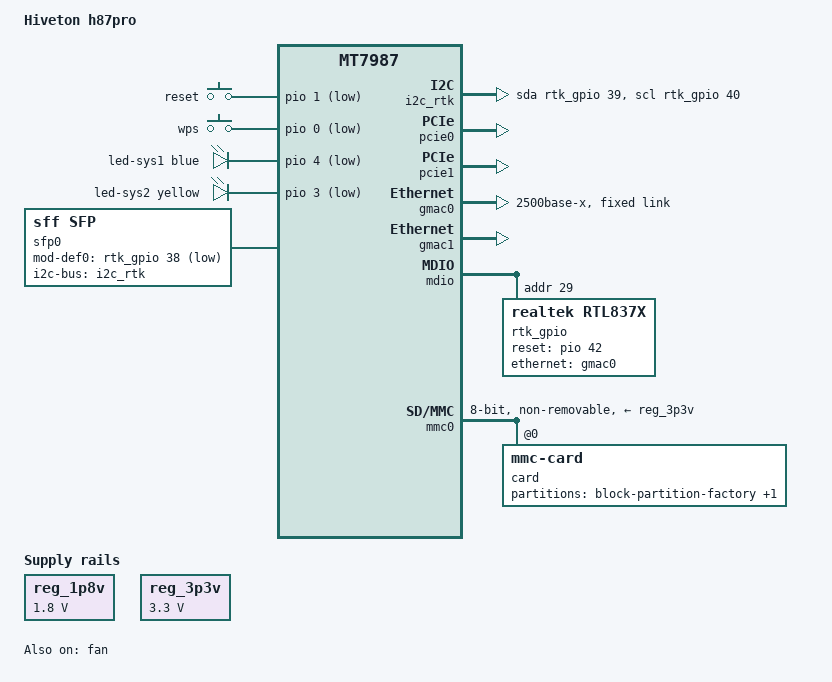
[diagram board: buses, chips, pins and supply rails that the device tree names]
// SPDX-License-Identifier: (GPL-2.0 OR MIT)

/dts-v1/;
#include "mt7987a.dtsi"
#include <dt-bindings/input/input.h>

/ {
	model = "Hiveton h87pro";
	compatible = "hiveton,h87pro", "mediatek,mt7987";

	aliases {
		serial0 = &uart0;
	};

	chosen: chosen {
		stdout-path = "serial0:115200n8";
		rootdisk = <&emmc_rootfs>;
		bootargs-append = " root=PARTLABEL=rootfs rootwait rootfstype=squashfs,f2fs";
	};

	gpio-keys {
		compatible = "gpio-keys";

		reset {
			label = "reset";
			linux,code = <KEY_RESTART>;
			gpios = <&pio 1 GPIO_ACTIVE_LOW>;
			debounce-interval = <10>;
		};

		wps {
			label = "wps";
			linux,code = <KEY_WPS_BUTTON>;
			gpios = <&pio 0 GPIO_ACTIVE_LOW>;
			debounce-interval = <10>;
		};
	};

	leds {
		compatible = "gpio-leds";

		led-sys1 {
			gpios = <&pio 4 GPIO_ACTIVE_LOW>;
			color = <LED_COLOR_ID_BLUE>;
			function = LED_FUNCTION_POWER;
		};

		led-sys2 {
			gpios = <&pio 3 GPIO_ACTIVE_LOW>;
			color = <LED_COLOR_ID_YELLOW>;
			function = LED_FUNCTION_POWER;
		};
	};

	reg_1p8v: regulator-1p8v {
		compatible = "regulator-fixed";
		regulator-name = "fixed-1.8V";
		regulator-min-microvolt = <1800000>;
		regulator-max-microvolt = <1800000>;
		regulator-boot-on;
		regulator-always-on;
	};

	reg_3p3v: regulator-3p3v {
		compatible = "regulator-fixed";
		regulator-name = "fixed-3.3V";
		regulator-min-microvolt = <3300000>;
		regulator-max-microvolt = <3300000>;
		regulator-boot-on;
		regulator-always-on;
	};

	i2c_rtk: i2c {
		compatible = "i2c-gpio";
		sda-gpios = <&rtk_gpio 39 GPIO_ACTIVE_HIGH>;
		scl-gpios = <&rtk_gpio 40 GPIO_ACTIVE_HIGH>;
		i2c-gpio,delay-us = <5>;
		i2c-gpio,timeout-ms = <1>;
	};

	sfp0: sfp {
		compatible = "sff,sfp";

		i2c-bus = <&i2c_rtk>;
		mod-def0-gpios = <&rtk_gpio 38 GPIO_ACTIVE_LOW>;
		maximum-power-milliwatt = <1000>;
	};
};

&pcie0 {
	status = "okay";
};

&pcie1 {
	status = "okay";
};

&fan {
	pinctrl-names = "default";
	pinctrl-0 = <&pwm_fan_pins>;
	compatible = "pwm-fan";
	#cooling-cells = <2>;
	cooling-levels = <0 10 20 30 40 50 60 70 80 90 100 110 120 130 140 150 160 170 180 190 200 210 220 240 255>;
	pwms = <&pwm 1 50000 0>;
	status = "okay";
};

&gmac0 {
	phy-mode = "2500base-x";
	status = "okay";
	fixed-link {
		speed = <2500>;
		full-duplex;
		pause;
		asym-pause;
	};
};

&gmac1 {
	status = "okay";
};

&mdio {
	rtk_gpio: rtl837x-gsw@1 {
		compatible = "realtek,rtl837x";
		#address-cells = <1>;
		#size-cells = <1>;
		reg = <29>;
		reset-gpios = <&pio 42 GPIO_ACTIVE_HIGH>;
		rtl837x,cpu-port = <0>;
		rtl837x,sds0mode = "2500base-x";
		ethernet = <&gmac0>;
		sfp = <&sfp0>;
		sds1-rx-swap;
		phy-mdi-reverse;
		phy-tx-polarity-swap;
		gpio-controller;
		#gpio-cells = <2>;
	};
};

&mmc0 {
	pinctrl-names = "default", "state_uhs";
	pinctrl-0 = <&mmc_pins_default>;
	pinctrl-1 = <&mmc_pins_uhs>;
	bus-width = <8>;
	max-frequency = <48000000>;
	cap-mmc-highspeed;
	vmmc-supply = <&reg_3p3v>;
	non-removable;
	status = "okay";

	card@0 {
		compatible = "mmc-card";
		reg = <0>;

		block {
			compatible = "block-device";

			partitions {
				block-partition-factory {
					partname = "factory";

					nvmem-layout {
						compatible = "fixed-layout";
						#address-cells = <1>;
						#size-cells = <1>;

						eeprom_factory_0: eeprom@0 {
							reg = <0x0 0x1000>;
						};

						macaddr_factory_24: macaddr@24 {
							compatible = "mac-base";
							reg = <0x24 0x6>;
							#nvmem-cell-cells = <1>;
						};

						macaddr_factory_2a: macaddr@2a {
							compatible = "mac-base";
							reg = <0x2a 0x6>;
							#nvmem-cell-cells = <1>;
						};
					};
				};

				emmc_rootfs: block-partition-rootfs {
					partname = "rootfs";
				};
			};
		};
	};
};
